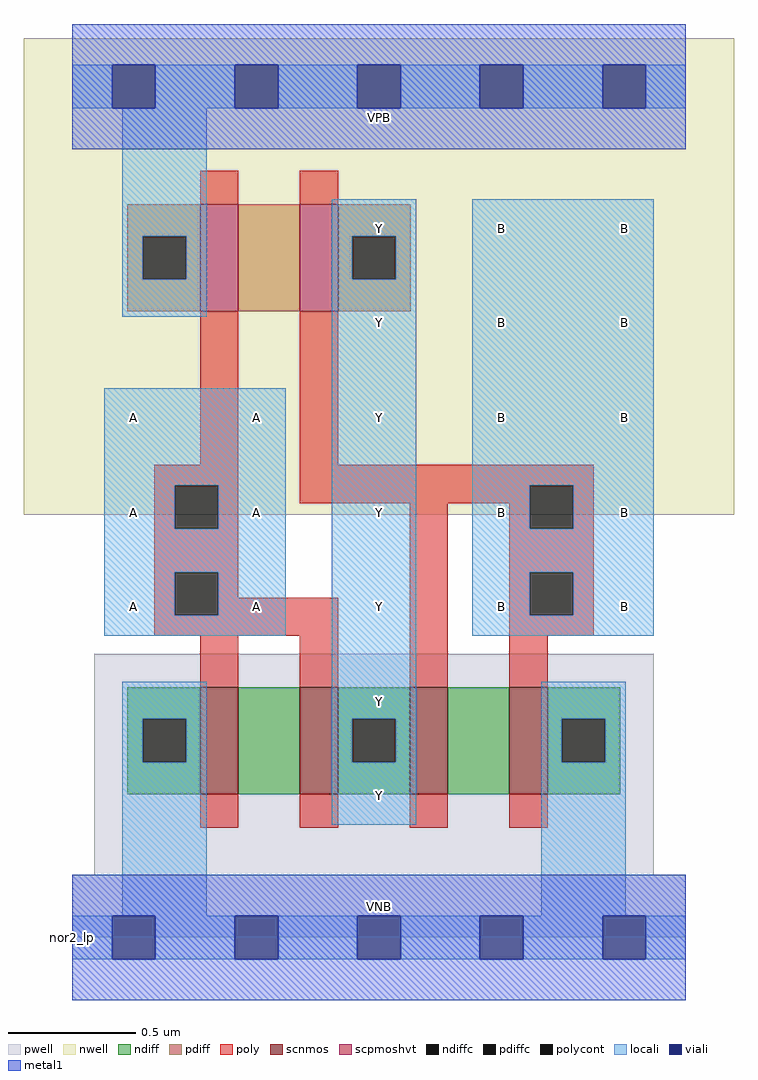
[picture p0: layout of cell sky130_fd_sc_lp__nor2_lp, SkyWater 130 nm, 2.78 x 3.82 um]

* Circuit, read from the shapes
.subckt sky130_fd_sc_lp__nor2_lp A B VGND VNB VPB VPWR Y
XM1 n1 A VGND VNB sky130_fd_pr__nfet_01v8 w=0.42 l=0.15
XM2 Y A n1 VNB sky130_fd_pr__nfet_01v8 w=0.42 l=0.15
XM3 n2 B Y VNB sky130_fd_pr__nfet_01v8 w=0.42 l=0.15
XM4 VGND B n2 VNB sky130_fd_pr__nfet_01v8 w=0.42 l=0.15
XM5 n3 A VPWR VPB sky130_fd_pr__pfet_01v8_hvt w=0.42 l=0.15
XM6 Y B n3 VPB sky130_fd_pr__pfet_01v8_hvt w=0.42 l=0.15
.ends

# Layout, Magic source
magic
tech sky130A
magscale 1 2
<< nwell >>
rect -38 331 518 704
<< pwell >>
rect 17 49 455 222
rect 0 0 480 49
<< scnmos >>
rect 100 112 130 196
rect 178 112 208 196
rect 264 112 294 196
rect 342 112 372 196
<< scpmoshvt >>
rect 100 490 130 574
rect 178 490 208 574
<< ndiff >>
rect 43 171 100 196
rect 43 137 55 171
rect 89 137 100 171
rect 43 112 100 137
rect 130 112 178 196
rect 208 171 264 196
rect 208 137 219 171
rect 253 137 264 171
rect 208 112 264 137
rect 294 112 342 196
rect 372 171 429 196
rect 372 137 383 171
rect 417 137 429 171
rect 372 112 429 137
<< pdiff >>
rect 43 549 100 574
rect 43 515 55 549
rect 89 515 100 549
rect 43 490 100 515
rect 130 490 178 574
rect 208 549 265 574
rect 208 515 219 549
rect 253 515 265 549
rect 208 490 265 515
<< ndiffc >>
rect 55 137 89 171
rect 219 137 253 171
rect 383 137 417 171
<< pdiffc >>
rect 55 515 89 549
rect 219 515 253 549
<< poly >>
rect 100 574 130 600
rect 178 574 208 600
rect 100 370 130 490
rect 64 354 130 370
rect 64 320 80 354
rect 114 320 130 354
rect 178 370 208 490
rect 178 354 408 370
rect 178 340 358 354
rect 64 286 130 320
rect 64 252 80 286
rect 114 266 130 286
rect 114 252 208 266
rect 64 236 208 252
rect 100 196 130 236
rect 178 196 208 236
rect 264 196 294 340
rect 342 320 358 340
rect 392 320 408 354
rect 342 286 408 320
rect 342 252 358 286
rect 392 252 408 286
rect 342 236 408 252
rect 342 196 372 236
rect 100 86 130 112
rect 178 86 208 112
rect 264 86 294 112
rect 342 86 372 112
<< polycont >>
rect 80 320 114 354
rect 80 252 114 286
rect 358 320 392 354
rect 358 252 392 286
<< locali >>
rect 0 649 31 683
rect 65 649 127 683
rect 161 649 223 683
rect 257 649 319 683
rect 353 649 415 683
rect 449 649 480 683
rect 39 549 105 649
rect 39 515 55 549
rect 89 515 105 549
rect 39 486 105 515
rect 203 549 269 578
rect 203 515 219 549
rect 253 515 269 549
rect 25 354 167 430
rect 25 320 80 354
rect 114 320 167 354
rect 25 286 167 320
rect 25 252 80 286
rect 114 252 167 286
rect 25 236 167 252
rect 39 171 105 200
rect 39 137 55 171
rect 89 137 105 171
rect 39 17 105 137
rect 203 171 269 515
rect 313 354 455 578
rect 313 320 358 354
rect 392 320 455 354
rect 313 286 455 320
rect 313 252 358 286
rect 392 252 455 286
rect 313 236 455 252
rect 203 137 219 171
rect 253 137 269 171
rect 203 88 269 137
rect 367 171 433 200
rect 367 137 383 171
rect 417 137 433 171
rect 367 17 433 137
rect 0 -17 31 17
rect 65 -17 127 17
rect 161 -17 223 17
rect 257 -17 319 17
rect 353 -17 415 17
rect 449 -17 480 17
<< viali >>
rect 31 649 65 683
rect 127 649 161 683
rect 223 649 257 683
rect 319 649 353 683
rect 415 649 449 683
rect 31 -17 65 17
rect 127 -17 161 17
rect 223 -17 257 17
rect 319 -17 353 17
rect 415 -17 449 17
<< metal1 >>
rect 0 683 480 715
rect 0 649 31 683
rect 65 649 127 683
rect 161 649 223 683
rect 257 649 319 683
rect 353 649 415 683
rect 449 649 480 683
rect 0 617 480 649
rect 0 17 480 49
rect 0 -17 31 17
rect 65 -17 127 17
rect 161 -17 223 17
rect 257 -17 319 17
rect 353 -17 415 17
rect 449 -17 480 17
rect 0 -49 480 -17
<< labels >>
flabel pwell s 0 0 480 49 0 FreeSans 200 0 0 0 VNB
port 4 nsew ground bidirectional
flabel nwell s 0 617 480 666 0 FreeSans 200 0 0 0 VPB
port 5 nsew power bidirectional
rlabel comment s 0 0 0 0 4 nor2_lp
flabel metal1 s 0 617 480 666 0 FreeSans 340 0 0 0 VPWR
port 6 nsew power bidirectional
flabel metal1 s 0 0 480 49 0 FreeSans 340 0 0 0 VGND
port 3 nsew ground bidirectional
flabel locali s 319 242 353 276 0 FreeSans 340 0 0 0 B
port 2 nsew signal input
flabel locali s 319 316 353 350 0 FreeSans 340 0 0 0 B
port 2 nsew signal input
flabel locali s 319 390 353 424 0 FreeSans 340 0 0 0 B
port 2 nsew signal input
flabel locali s 319 464 353 498 0 FreeSans 340 0 0 0 B
port 2 nsew signal input
flabel locali s 319 538 353 572 0 FreeSans 340 0 0 0 B
port 2 nsew signal input
flabel locali s 415 242 449 276 0 FreeSans 340 0 0 0 B
port 2 nsew signal input
flabel locali s 415 316 449 350 0 FreeSans 340 0 0 0 B
port 2 nsew signal input
flabel locali s 415 390 449 424 0 FreeSans 340 0 0 0 B
port 2 nsew signal input
flabel locali s 415 464 449 498 0 FreeSans 340 0 0 0 B
port 2 nsew signal input
flabel locali s 415 538 449 572 0 FreeSans 340 0 0 0 B
port 2 nsew signal input
flabel locali s 31 242 65 276 0 FreeSans 340 0 0 0 A
port 1 nsew signal input
flabel locali s 31 316 65 350 0 FreeSans 340 0 0 0 A
port 1 nsew signal input
flabel locali s 31 390 65 424 0 FreeSans 340 0 0 0 A
port 1 nsew signal input
flabel locali s 127 242 161 276 0 FreeSans 340 0 0 0 A
port 1 nsew signal input
flabel locali s 127 316 161 350 0 FreeSans 340 0 0 0 A
port 1 nsew signal input
flabel locali s 127 390 161 424 0 FreeSans 340 0 0 0 A
port 1 nsew signal input
flabel locali s 223 94 257 128 0 FreeSans 340 0 0 0 Y
port 7 nsew signal output
flabel locali s 223 168 257 202 0 FreeSans 340 0 0 0 Y
port 7 nsew signal output
flabel locali s 223 242 257 276 0 FreeSans 340 0 0 0 Y
port 7 nsew signal output
flabel locali s 223 316 257 350 0 FreeSans 340 0 0 0 Y
port 7 nsew signal output
flabel locali s 223 390 257 424 0 FreeSans 340 0 0 0 Y
port 7 nsew signal output
flabel locali s 223 464 257 498 0 FreeSans 340 0 0 0 Y
port 7 nsew signal output
flabel locali s 223 538 257 572 0 FreeSans 340 0 0 0 Y
port 7 nsew signal output
<< properties >>
string LEFsite unit
string LEFclass CORE
string FIXED_BBOX 0 0 480 666
string GDS_FILE $PDKPATH/libs.ref/sky130_fd_sc_lp/gds/sky130_fd_sc_lp.gds
string LEFsymmetry X Y
string GDS_END 5432614
string GDS_START 5426342
<< end >>
